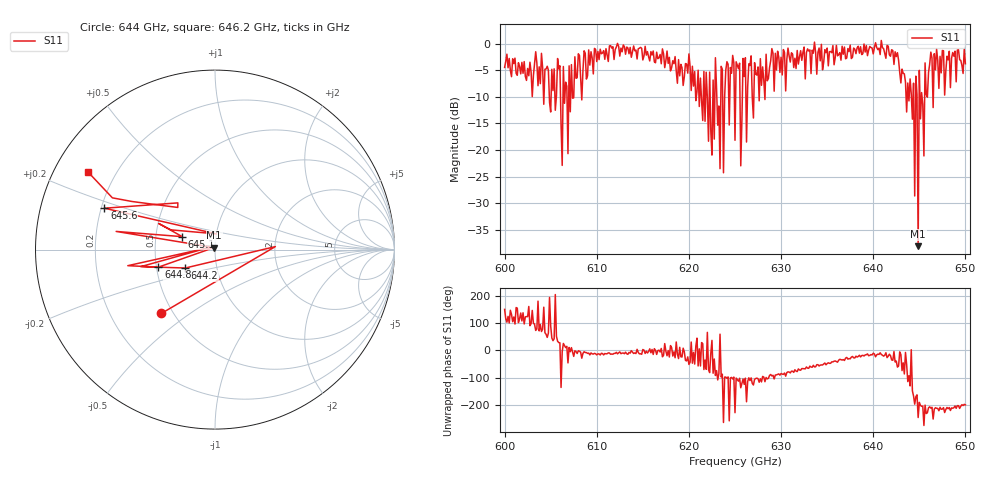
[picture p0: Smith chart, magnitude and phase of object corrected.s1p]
!Created with skrf (http://scikit-rf.org).
# GHz S MA R 50.0
!freq magS11 angS11
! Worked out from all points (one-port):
!   401 points, 600 GHz to 650 GHz, reference 50 ohm
!   lowest |S11| = -38.1 dB at 644.9 GHz (marker M1), VSWR 1.03, Z = 49.5 + j1.13 ohm
!   |S11| at or under -10 dB: 604.8535 GHz to 605.0447 GHz (191.1 MHz wide, 0.0316 % of centre); 606.0658 GHz to 606.3368 GHz (271 MHz wide, 0.0447 % of centre); 623.0268 GHz to 623.4629 GHz (436.1 MHz wide, 0.07 % of centre)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
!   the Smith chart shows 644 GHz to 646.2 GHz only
!   S11 on the Smith chart (normalised r, x): 644 GHz: 0.43, -0.39; 644.2 GHz: 0.70, -0.15; 644.8 GHz: 0.51, -0.11; 645.1 GHz: 0.69, +0.10; 645.6 GHz: 0.21, +0.17; 646.2 GHz: 0.10, +0.28
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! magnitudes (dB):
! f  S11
! 600 GHz  -4.5
! 605.8 GHz  -2.8
! 606.2 GHz  -22.9
! 607.1 GHz  -12.8
! 607.9 GHz  -6.4
! 612.5 GHz  -2.4
! 618.8 GHz  -7.5
! 619.9 GHz  -5.6
! 622.1 GHz  -18.4
! 622.2 GHz  -5.4
! 622.9 GHz  -2.7
! 623.6 GHz  -4.8
! 624.2 GHz  -3.9
! 625 GHz  -18.2
! 625.8 GHz  -14.4
! 626.6 GHz  -4.1
! 631.2 GHz  -2.0
! 637.5 GHz  -0.3
! 641.8 GHz  -2.1
! 643.8 GHz  -7.4
! 644 GHz  -6.7
! 644.2 GHz  -14.2
! 644.8 GHz  -9.6
! 644.9 GHz  -38.1
! 645.1 GHz  -14.1
! 645.6 GHz  -3.6
! 646.2 GHz  -1.6
! 650 GHz  -3.8
